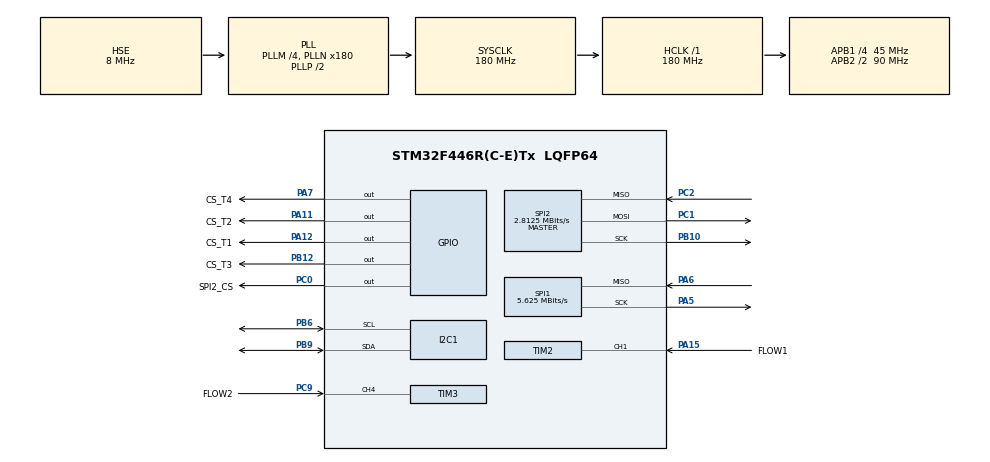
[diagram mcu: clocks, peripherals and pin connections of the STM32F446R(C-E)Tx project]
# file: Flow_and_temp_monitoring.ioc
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FATFS._MAX_SS=512
FATFS._USE_LFN=0
FREERTOS.Tasks01=defaultTask,24,128,StartDefaultTask,Default,NULL,Dynamic,NULL,NULL
FREERTOS.configUSE_NEWLIB_REENTRANT=0
I2C1.I2C_Mode=I2C_Standard
Mcu.Family=STM32F4
Mcu.Name=STM32F446R(C-E)Tx
Mcu.Package=LQFP64
NVIC.PriorityGroup=NVIC_PRIORITYGROUP_4
NVIC.TIM1_UP_TIM10_IRQn=true\:15\:0\:false\:false\:true\:false\:true\:true\:true
NVIC.TIM2_IRQn=true\:5\:0\:false\:false\:true\:true\:true\:true\:true
NVIC.TIM3_IRQn=true\:5\:0\:false\:false\:true\:true\:true\:true\:true
NVIC.TIM6_DAC_IRQn=true\:15\:0\:false\:false\:true\:false\:false\:true\:true
NVIC.TimeBase=TIM6_DAC_IRQn
NVIC.TimeBaseIP=TIM6
PA11.GPIO_Label=CS_T2
PA11.GPIO_PuPd=GPIO_PULLUP
PA11.Signal=GPIO_Output
PA12.GPIO_Label=CS_T1
PA12.GPIO_PuPd=GPIO_PULLUP
PA12.Signal=GPIO_Output
PA13.GPIO_Label=TMS
PA13.Mode=Serial_Wire
PA13.Signal=SYS_JTMS-SWDIO
PA14.GPIO_Label=TCK
PA14.Mode=Serial_Wire
PA14.Signal=SYS_JTCK-SWCLK
PA15.GPIO_Label=FLOW1
PA15.Signal=S_TIM2_CH1_ETR
PA5.Mode=RX_Only_Simplex_Unidirect_Master
PA5.Signal=SPI1_SCK
PA6.Mode=RX_Only_Simplex_Unidirect_Master
PA6.Signal=SPI1_MISO
PA7.GPIO_Label=CS_T4
PA7.GPIO_PuPd=GPIO_PULLUP
PA7.Signal=GPIO_Output
PB10.Mode=Full_Duplex_Master
PB10.Signal=SPI2_SCK
PB12.GPIO_Label=CS_T3
PB12.GPIO_PuPd=GPIO_PULLUP
PB12.Signal=GPIO_Output
PB3.GPIO_Label=SWO
PB3.Signal=SYS_JTDO-SWO
PB6.Mode=I2C
PB6.Signal=I2C1_SCL
PB9.Mode=I2C
PB9.Signal=I2C1_SDA
PC0.GPIO_Label=SPI2_CS
PC0.Signal=GPIO_Output
PC1.Mode=Full_Duplex_Master
PC1.Signal=SPI2_MOSI
PC2.Mode=Full_Duplex_Master
PC2.Signal=SPI2_MISO
PC9.GPIO_Label=FLOW2
PC9.Signal=S_TIM3_CH4
PH0-OSC_IN.Mode=HSE-External-Oscillator
PH0-OSC_IN.Signal=RCC_OSC_IN
PH1-OSC_OUT.Mode=HSE-External-Oscillator
PH1-OSC_OUT.Signal=RCC_OSC_OUT
ProjectManager.HeapSize=0x200
ProjectManager.StackSize=0x400
ProjectManager.TargetToolchain=STM32CubeIDE
RCC.48MHZClocksFreq_Value=84000000
RCC.AHBFreq_Value=180000000
RCC.APB1CLKDivider=RCC_HCLK_DIV4
RCC.APB1Freq_Value=45000000
RCC.APB1TimFreq_Value=90000000
RCC.APB2CLKDivider=RCC_HCLK_DIV2
RCC.APB2Freq_Value=90000000
RCC.APB2TimFreq_Value=180000000
RCC.CortexFreq_Value=180000000
RCC.FLatency-AdvancedSettings=FLASH_LATENCY_5
RCC.HCLKFreq_Value=180000000
RCC.HSE_VALUE=8000000
RCC.HSI_VALUE=16000000
RCC.PLLM=4
RCC.PLLN=180
RCC.PLLSourceVirtual=RCC_PLLSOURCE_HSE
RCC.SYSCLKFreq_VALUE=180000000
RCC.SYSCLKSource=RCC_SYSCLKSOURCE_PLLCLK
RCC.USBFreq_Value=180000000
RCC.VCOOutputFreq_Value=360000000
SH.S_TIM2_CH1_ETR.0=TIM2_CH1,Input_Capture1_from_TI1
SH.S_TIM3_CH4.0=TIM3_CH4,Input_Capture4_from_TI4
SPI1.BaudRatePrescaler=SPI_BAUDRATEPRESCALER_16
SPI1.CalculateBaudRate=5.625 MBits/s
SPI1.DataSize=SPI_DATASIZE_16BIT
SPI1.Direction=SPI_DIRECTION_2LINES_RXONLY
SPI1.Mode=SPI_MODE_MASTER
SPI1.VirtualType=VM_MASTER
SPI2.BaudRatePrescaler=SPI_BAUDRATEPRESCALER_16
SPI2.CalculateBaudRate=2.8125 MBits/s
SPI2.Direction=SPI_DIRECTION_2LINES
SPI2.Mode=SPI_MODE_MASTER
SPI2.VirtualType=VM_MASTER
TIM1.ClockDivision=TIM_CLOCKDIVISION_DIV4
TIM1.Period=17999
TIM1.Prescaler=9999
TIM1.TIM_MasterOutputTrigger=TIM_TRGO_UPDATE
TIM10.AutoReloadPreload=TIM_AUTORELOAD_PRELOAD_DISABLE
TIM10.ClockDivision=TIM_CLOCKDIVISION_DIV2
TIM10.Period=17999
TIM10.Prescaler=9999
TIM2.Channel-Input_Capture1_from_TI1=TIM_CHANNEL_1
TIM2.Prescaler=0
TIM3.Channel-Input_Capture4_from_TI4=TIM_CHANNEL_4
VP_FATFS_VS_Generic.Mode=User_defined
VP_FREERTOS_VS_CMSIS_V2.Mode=CMSIS_V2
VP_SYS_VS_tim6.Mode=TIM6
VP_TIM10_VS_ClockSourceINT.Mode=Enable_Timer
VP_TIM1_VS_ClockSourceINT.Mode=Internal
VP_TIM2_VS_ClockSourceINT.Mode=Internal
VP_TIM3_VS_ClockSourceINT.Mode=Internal
board=NUCLEO-F446RE

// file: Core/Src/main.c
/* USER CODE BEGIN Header */
/**
  ******************************************************************************
  * @file           : main.c
  * @brief          : Main program body
  ******************************************************************************
  * @attention
  *
  * Copyright (c) 2023 STMicroelectronics.
  * All rights reserved.
  *
  * This software is licensed under terms that can be found in the LICENSE file
  * in the root directory of this software component.
  * If no LICENSE file comes with this software, it is provided AS-IS.
  *
  ******************************************************************************
  */
/* USER CODE END Header */
#include "main.h"
#include "cmsis_os.h"
#include "fatfs.h"
#include "i2c.h"
#include "spi.h"
#include "tim.h"
#include "gpio.h"

/* USER CODE BEGIN Includes */
// Humidity sensor
#include "bme280_add.h"

// SD CARD
#include "fatfs_sd.h"
#include "string.h"
#include "stdio.h"

// RTOS
#include "File_Handling_RTOS.h"
#include "semphr.h"
/* USER CODE END Includes */

/* USER CODE BEGIN PTD */
// Temperature monitoring
typedef struct temperature_monitoring {
	SPI_HandleTypeDef * hspi;
	GPIO_TypeDef* CS_GPIOx;
	uint16_t CS_GPIO_Pin;
	uint16_t Temperature;
	float Celsius;
	float Celsius_filtered;
} Temp_monitoring_t;

// Flow monitoring
typedef struct flow_monitoring {
	TIM_HandleTypeDef *htim;
	volatile uint16_t pulse_counter;
	float flow_rate;
} Flow_monitoring_t;

// SD CARD
typedef struct sd_card_writing {
	char * file_name;
	uint16_t measurement_number;
	Temp_monitoring_t * temp_array;
	Flow_monitoring_t * flow_array;
	struct bme280_data * humid_array;
} SD_card_writing_t;
/* USER CODE END PTD */

/* USER CODE BEGIN PD */
// Temperature monitoring
#define THERMOCOUPLES_NUMBER 4

// Flow monitoring
#define LIQUID_FLOW_SENSOR_NUMBER 2			// 0 - hot, 1 - cold
#define FLOW_RATE_COEFFICIENT 5.5

// SD CARD
//#define MAX_LEN 37

// CMSIS-RTOS2
#define STACK_SIZE_NORMAL 512
/* USER CODE END PD */

/* USER CODE BEGIN PV */
// CMSIS-RTOS2
// Temperature monitoring
const osThreadAttr_t T1_attr = {
		.name = "T1_thread",
		.stack_size = STACK_SIZE_NORMAL,
		.priority = osPriorityNormal
};
const osThreadAttr_t T2_attr = {
		.name = "T2_thread",
		.stack_size = STACK_SIZE_NORMAL,
		.priority = osPriorityNormal
};
const osThreadAttr_t T3_attr = {
		.name = "T3_thread",
		.stack_size = STACK_SIZE_NORMAL,
		.priority = osPriorityNormal
};
const osThreadAttr_t T4_attr = {
		.name = "T1_thread",
		.stack_size = STACK_SIZE_NORMAL,
		.priority = osPriorityNormal
};

const osSemaphoreAttr_t spi_sem_attr = {
		.name = "SPI_Sem"
};

osSemaphoreId_t spi_sem_id;

// Flow monitoring
const osThreadAttr_t FlowHot_attr = {
		.name = "Flow_H_thread",
		.stack_size = STACK_SIZE_NORMAL,
		.priority = osPriorityBelowNormal1
};

const osThreadAttr_t FlowCold_attr = {
		.name = "Flow_C_thread",
		.stack_size = STACK_SIZE_NORMAL,
		.priority = osPriorityBelowNormal1
};

// Temperature, humidity and pressure measurement
const osThreadAttr_t Humid_attr = {
		.name = "Humid_thread",
		.stack_size = STACK_SIZE_NORMAL,
		.priority = osPriorityNormal
};

const osSemaphoreAttr_t i2c_humid_sem_attr = {
		.name = "I2C_Sem"
};

osSemaphoreId_t i2c_humid_sem_id;

// SD CARD
const osThreadAttr_t SD_card_attr = {
		.name = "SD_thread",
		.stack_size = STACK_SIZE_NORMAL,
		.priority = osPriorityNormal1
};

// Temperature monitoring
Temp_monitoring_t Thermocouple[THERMOCOUPLES_NUMBER];

// Flow monitoring
Flow_monitoring_t Liquid_flow_sensor[LIQUID_FLOW_SENSOR_NUMBER];

// Temperature, humidity and pressure measurement
struct bme280_dev bme280_sens_dev;
struct bme280_data bme280_sens_data;
//struct bme280_data bme280_sens_logging_data;
xSemaphoreHandle DATA_Sem;

// SD CARD
SD_card_writing_t SD_card_data;
const char * txt_file_name = "RTOS2.txt";
/* USER CODE END PV */

void SystemClock_Config(void);
void MX_FREERTOS_Init(void);
/* USER CODE BEGIN PFP */
// Temperature monitoring
void LB_Init_Temp_Monitoring(Temp_monitoring_t * tcouple_array);
void vTempReading(void * pvParameters);

// Flow monitoring
void LB_Init_Flow_Monitoring(Flow_monitoring_t * flow_sensor_array);
void vFlowReading(void * pvParameters);

// Temperature, humidity and pressure measurement
void vHumidReading(void * pvParameters);

// SD CARD
void LB_Init_SD_Card(SD_card_writing_t * p_SD_card_data_type, Temp_monitoring_t * p_temp, Flow_monitoring_t * p_flow, struct bme280_data * p_humid);
void vUpdateLogs(void * pvParameters);
/* USER CODE END PFP */

int main(void)
{

  /* MCU Configuration--------------------------------------------------------*/

  /* Reset of all peripherals, Initializes the Flash interface and the Systick. */
  HAL_Init();

  /* Configure the system clock */
  SystemClock_Config();

  /* Initialize all configured peripherals */
  MX_GPIO_Init();
  MX_SPI1_Init();
  MX_TIM2_Init();
  MX_TIM10_Init();
  MX_I2C1_Init();
  MX_SPI2_Init();
  MX_TIM3_Init();
  MX_FATFS_Init();
  MX_TIM1_Init();
  /* USER CODE BEGIN 2 */

  // The initialization of temperature monitoring
  LB_Init_Temp_Monitoring(Thermocouple);

  // The initialization of flow monitoring
  LB_Init_Flow_Monitoring(Liquid_flow_sensor);

  // The initialization of humidity sensor
  BME280_init(&bme280_sens_dev);

  // The initialization of SD card data type
  LB_Init_SD_Card(&SD_card_data, Thermocouple, Liquid_flow_sensor, &bme280_sens_data);

  // The initialization of timers
  HAL_TIM_IC_Start_IT(&htim2, TIM_CHANNEL_1);
  HAL_TIM_IC_Start_IT(&htim3, TIM_CHANNEL_4);
  HAL_TIM_Base_Start_IT(&htim10);

  // SD card mounting
  Mount_SD("/");
//  Format_SD();
  Create_File(txt_file_name);
  Unmount_SD("/");

  DATA_Sem = xSemaphoreCreateBinary();
  /* USER CODE END 2 */

  /* Init scheduler */
  osKernelInitialize();  /* Call init function for freertos objects (in freertos.c) */
  MX_FREERTOS_Init();

  // SAVE THIS CODE BEGIN
  // Temperature monitoring
  osThreadNew(vTempReading, Thermocouple + 0, &T1_attr);
  osThreadNew(vTempReading, Thermocouple + 1, &T2_attr);
  osThreadNew(vTempReading, Thermocouple + 2, &T3_attr);
  osThreadNew(vTempReading, Thermocouple + 3, &T4_attr);

  spi_sem_id = osSemaphoreNew(1, 1, &spi_sem_attr);

  // Flow monitoring
  osThreadNew(vFlowReading, Liquid_flow_sensor + 0, &FlowHot_attr);
  osThreadNew(vFlowReading, Liquid_flow_sensor + 1, &FlowCold_attr);

  // Temperature, humidity and pressure measurement
  osThreadNew(vHumidReading, NULL, &Humid_attr);

  i2c_humid_sem_id = osSemaphoreNew(1, 1, &i2c_humid_sem_attr);

  osThreadNew(vUpdateLogs, &SD_card_data, &SD_card_attr);

  HAL_TIM_Base_Start_IT(&htim1);
  // SAVE THIS CODE END

  /* Start scheduler */
  osKernelStart();

  /* We should never get here as control is now taken by the scheduler */
  /* Infinite loop */
  while (1)
  {

  }
}

void SystemClock_Config(void)
{
  RCC_OscInitTypeDef RCC_OscInitStruct = {0};
  RCC_ClkInitTypeDef RCC_ClkInitStruct = {0};

  /** Configure the main internal regulator output voltage
  */
  __HAL_RCC_PWR_CLK_ENABLE();
  __HAL_PWR_VOLTAGESCALING_CONFIG(PWR_REGULATOR_VOLTAGE_SCALE1);

  /** Initializes the RCC Oscillators according to the specified parameters
  * in the RCC_OscInitTypeDef structure.
  */
  RCC_OscInitStruct.OscillatorType = RCC_OSCILLATORTYPE_HSE;
  RCC_OscInitStruct.HSEState = RCC_HSE_ON;
  RCC_OscInitStruct.PLL.PLLState = RCC_PLL_ON;
  RCC_OscInitStruct.PLL.PLLSource = RCC_PLLSOURCE_HSE;
  RCC_OscInitStruct.PLL.PLLM = 4;
  RCC_OscInitStruct.PLL.PLLN = 180;
  RCC_OscInitStruct.PLL.PLLP = RCC_PLLP_DIV2;
  RCC_OscInitStruct.PLL.PLLQ = 2;
  RCC_OscInitStruct.PLL.PLLR = 2;
  if (HAL_RCC_OscConfig(&RCC_OscInitStruct) != HAL_OK)
  {
    Error_Handler();
  }

  /** Activate the Over-Drive mode
  */
  if (HAL_PWREx_EnableOverDrive() != HAL_OK)
  {
    Error_Handler();
  }

  /** Initializes the CPU, AHB and APB buses clocks
  */
  RCC_ClkInitStruct.ClockType = RCC_CLOCKTYPE_HCLK|RCC_CLOCKTYPE_SYSCLK
                              |RCC_CLOCKTYPE_PCLK1|RCC_CLOCKTYPE_PCLK2;
  RCC_ClkInitStruct.SYSCLKSource = RCC_SYSCLKSOURCE_PLLCLK;
  RCC_ClkInitStruct.AHBCLKDivider = RCC_SYSCLK_DIV1;
  RCC_ClkInitStruct.APB1CLKDivider = RCC_HCLK_DIV4;
  RCC_ClkInitStruct.APB2CLKDivider = RCC_HCLK_DIV2;

  if (HAL_RCC_ClockConfig(&RCC_ClkInitStruct, FLASH_LATENCY_5) != HAL_OK)
  {
    Error_Handler();
  }
}

/* USER CODE BEGIN 4 */
// Temperature monitoring
void LB_Init_Temp_Monitoring(Temp_monitoring_t * tcouple_array)
{
	(tcouple_array + 0)->hspi = &hspi1;
	(tcouple_array + 0)->CS_GPIOx =	CS_T1_GPIO_Port;
	(tcouple_array + 0)->CS_GPIO_Pin = CS_T1_Pin;

	(tcouple_array + 1)->hspi = &hspi1;
	(tcouple_array + 1)->CS_GPIOx =	CS_T2_GPIO_Port;
	(tcouple_array + 1)->CS_GPIO_Pin = CS_T2_Pin;

	(tcouple_array + 2)->hspi = &hspi1;
	(tcouple_array + 2)->CS_GPIOx =	CS_T3_GPIO_Port;
	(tcouple_array + 2)->CS_GPIO_Pin = CS_T3_Pin;

	(tcouple_array + 3)->hspi = &hspi1;
	(tcouple_array + 3)->CS_GPIOx =	CS_T4_GPIO_Port;
	(tcouple_array + 3)->CS_GPIO_Pin = CS_T4_Pin;
}

void vTempReading(void * pvParameters)
{
	uint8_t temp[2];
	Temp_monitoring_t * p_tcouple = (Temp_monitoring_t *) pvParameters;
	while(1)
	{
		osSemaphoreAcquire(spi_sem_id, osWaitForever);

		/* SPI */
		HAL_GPIO_WritePin(p_tcouple->CS_GPIOx, p_tcouple->CS_GPIO_Pin, GPIO_PIN_RESET);
		HAL_Delay(1);
		HAL_SPI_Receive(p_tcouple->hspi, temp, 2, 10);
		HAL_GPIO_WritePin(p_tcouple->CS_GPIOx, p_tcouple->CS_GPIO_Pin, GPIO_PIN_SET);

//		OPTION 1
		osSemaphoreRelease(spi_sem_id);

		/* Temperature Conversion */
		p_tcouple->Temperature = temp[1];
		p_tcouple->Temperature = p_tcouple->Temperature << 8;
		p_tcouple->Temperature = p_tcouple->Temperature + temp[0];
		p_tcouple->Temperature = p_tcouple->Temperature >> 3;
		p_tcouple->Celsius = (float) p_tcouple->Temperature * 0.25;

		/* IIR filter */
		p_tcouple->Celsius_filtered = (1 - 0.2) * p_tcouple->Celsius_filtered + 0.2 * p_tcouple->Celsius;

//		OPTION 2
//		osSemaphoreRelease(spi_sem_id);

		osDelay(pdMS_TO_TICKS(333UL));
	}
}

// Flow monitoring
void LB_Init_Flow_Monitoring(Flow_monitoring_t * flow_sensor_array)
{
	(flow_sensor_array + 0)->htim = &htim2;
	(flow_sensor_array + 0)->pulse_counter = 0;
	(flow_sensor_array + 0)->flow_rate = 0;

	(flow_sensor_array + 1)->htim = &htim3;
	(flow_sensor_array + 1)->pulse_counter = 0;
	(flow_sensor_array + 1)->flow_rate = 0;
}

void vFlowReading(void * pvParameters)
{
	Flow_monitoring_t * p_flow_sensor = (Flow_monitoring_t *) pvParameters;
	while(1)
	{
		p_flow_sensor->flow_rate = (float) p_flow_sensor->pulse_counter / FLOW_RATE_COEFFICIENT;
		osDelay(pdMS_TO_TICKS(111UL));
	}
}

// Temperature, humidity and pressure measurement
void vHumidReading(void * pvParameters)
{
	while(1)
	{
//		osSemaphoreAcquire(spi_sem_id, osWaitForever);
		xSemaphoreTake(DATA_Sem, 2500);
		BME280_read_data(&bme280_sens_dev, &bme280_sens_data);
		osDelay(pdMS_TO_TICKS(500UL));
//		osDelay(pdMS_TO_TICKS(444UL));
	}
}

// SD CARD
void LB_Init_SD_Card(SD_card_writing_t * p_SD_card_data_type, Temp_monitoring_t * p_temp, Flow_monitoring_t * p_flow, struct bme280_data * p_humid)
{
	p_SD_card_data_type->file_name = "Measurement";
	p_SD_card_data_type->measurement_number = 1;
	p_SD_card_data_type->temp_array = p_temp;
	p_SD_card_data_type->flow_array = p_flow;
	p_SD_card_data_type->humid_array = p_humid;
}

void vUpdateLogs(void * pvParameters)
{
//	FATFS fs;
//	FIL fil;
//	FRESULT fresult;
//	uint8_t message[MAX_LEN];
//
//	SD_card_writing_t * p_sd_card_data_type = (SD_card_writing_t *) pvParameters;
//
//	while(1)
//	{
//		// Mount SD Card
//		if ( FR_DISK_ERR == (fresult = f_mount(&fs, "", 1)) )
//		{
//			FATFS_UnLinkDriver(USERPath);
//			MX_FATFS_Init();
//			if ( FR_OK != (fresult = f_mount(&fs, "", 1)) )
//			{
//				fresult = f_mount(NULL, "", 1);
//				osDelay(pdMS_TO_TICKS(1000UL));
////				return fresult;
//			}
//		}
//
//		// Open the file with write access
//		if ( FR_OK != (fresult = f_open(&fil, p_sd_card_data_type->file_name, FA_OPEN_EXISTING | FA_WRITE)) )
//		{
//			if ( FR_OK != (fresult = f_open(&fil, p_sd_card_data_type->file_name, FA_OPEN_ALWAYS | FA_WRITE)) )
//			{
//				// Unmount SD CARD
//				fresult = f_mount(NULL, "", 1);
//				osDelay(pdMS_TO_TICKS(1000UL));
////				return fresult;
//			}
//			fresult = f_puts("Date,Time,Temperature [C],Humidity [%], Pressure [mmHg]\r\n\r\n", &fil);
//		}
//
//		// Move offset to the end of file
//		fresult = f_lseek(&fil, /*fil.fptr*/ f_size(&fil));
//
//		// an action
//		p_sd_card_data_type->measurement_number++;
//
//		/*** Updating an existing file ***/
//		// Write a string to the file
//		sprintf( (char *) message, "%u\r\n",  p_sd_card_data_type->measurement_number);
//		fresult = f_puts((TCHAR *) message, &fil);
//
//		// Close the file
//		f_close(&fil);
//
//		// Unmount SD CARD
//		fresult = f_mount(NULL, "", 1);
//
//		osDelay(pdMS_TO_TICKS(1000UL));
//	}

	int index = 1;

	while(1)
	{
		char * buffer = pvPortMalloc(50 * sizeof(char));
		sprintf(buffer, /*"%03d. - %02f, %02f, %02f, %02f, %02f, %02f %lu.%02lu\r\n"*/"%03d. - %lu.%02lu\r\n", index, /*Thermocouple[1].Celsius_filtered, Thermocouple[2].Celsius_filtered, Thermocouple[3].Celsius_filtered, Thermocouple[0].Celsius_filtered, Liquid_flow_sensor[0].flow_rate, Liquid_flow_sensor[1].flow_rate,*/ (bme280_sens_data.humidity / 1024UL), ((bme280_sens_data.humidity % 1024UL) / 10));
		Mount_SD("/");
		Update_File(txt_file_name, buffer);
		vPortFree(buffer);
		Unmount_SD("/");

		index++;

		vTaskDelay(1000);
	}
}

void HAL_TIM_IC_CaptureCallback(TIM_HandleTypeDef *htim)
{
    if (TIM2 == htim->Instance) {
    	Liquid_flow_sensor[0].pulse_counter++;
    }
    if (TIM3 == htim->Instance) {
    	Liquid_flow_sensor[1].pulse_counter++;
    }
}

//}
/* USER CODE END 4 */

void HAL_TIM_PeriodElapsedCallback(TIM_HandleTypeDef *htim)
{
  /* USER CODE BEGIN Callback 0 */
	if (htim->Instance == TIM1)
	{
		// release the semaphore here
		 /* The xHigherPriorityTaskWoken parameter must be initialized to pdFALSE as
		 it will get set to pdTRUE inside the interrupt safe API function if a
		 context switch is required. */
		BaseType_t xHigherPriorityTaskWoken = pdFALSE;

		xSemaphoreGiveFromISR(DATA_Sem, &xHigherPriorityTaskWoken);  // ISR SAFE VERSION

		/* Pass the xHigherPriorityTaskWoken value into portEND_SWITCHING_ISR(). If
		 xHigherPriorityTaskWoken was set to pdTRUE inside xSemaphoreGiveFromISR()
		 then calling portEND_SWITCHING_ISR() will request a context switch. If
		 xHigherPriorityTaskWoken is still pdFALSE then calling
		 portEND_SWITCHING_ISR() will have no effect */

		portEND_SWITCHING_ISR( xHigherPriorityTaskWoken );
	}
  /* USER CODE END Callback 0 */
  if (htim->Instance == TIM6) {
    HAL_IncTick();
  }
  /* USER CODE BEGIN Callback 1 */
	if (TIM10 == htim->Instance)
	{
    	Liquid_flow_sensor[0].pulse_counter = 0;
    	Liquid_flow_sensor[1].pulse_counter = 0;
	}
  /* USER CODE END Callback 1 */
}

void Error_Handler(void)
{
  __disable_irq();
  while (1)
  {
  }
}

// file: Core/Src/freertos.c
/* USER CODE BEGIN Header */
/**
  ******************************************************************************
  * File Name          : freertos.c
  * Description        : Code for freertos applications
  ******************************************************************************
  * @attention
  *
  * Copyright (c) 2023 STMicroelectronics.
  * All rights reserved.
  *
  * This software is licensed under terms that can be found in the LICENSE file
  * in the root directory of this software component.
  * If no LICENSE file comes with this software, it is provided AS-IS.
  *
  ******************************************************************************
  */
/* USER CODE END Header */

#include "FreeRTOS.h"
#include "task.h"
#include "main.h"
#include "cmsis_os.h"

/* USER CODE BEGIN Variables */
uint16_t IdleCounter = 0;
/* USER CODE END Variables */
/* Definitions for defaultTask */
osThreadId_t defaultTaskHandle;
const osThreadAttr_t defaultTask_attributes = {
  .name = "defaultTask",
  .stack_size = 128 * 4,
  .priority = (osPriority_t) osPriorityNormal,
};

void StartDefaultTask(void *argument);

void MX_FREERTOS_Init(void); /* (MISRA C 2004 rule 8.1) */

void MX_FREERTOS_Init(void) {

  /* Create the thread(s) */
  /* creation of defaultTask */
  defaultTaskHandle = osThreadNew(StartDefaultTask, NULL, &defaultTask_attributes);

}

void StartDefaultTask(void *argument)
{
  /* USER CODE BEGIN StartDefaultTask */
  /* Infinite loop */
  for(;;)
  {
	  IdleCounter++;
    osDelay(1);
  }
  /* USER CODE END StartDefaultTask */
}
